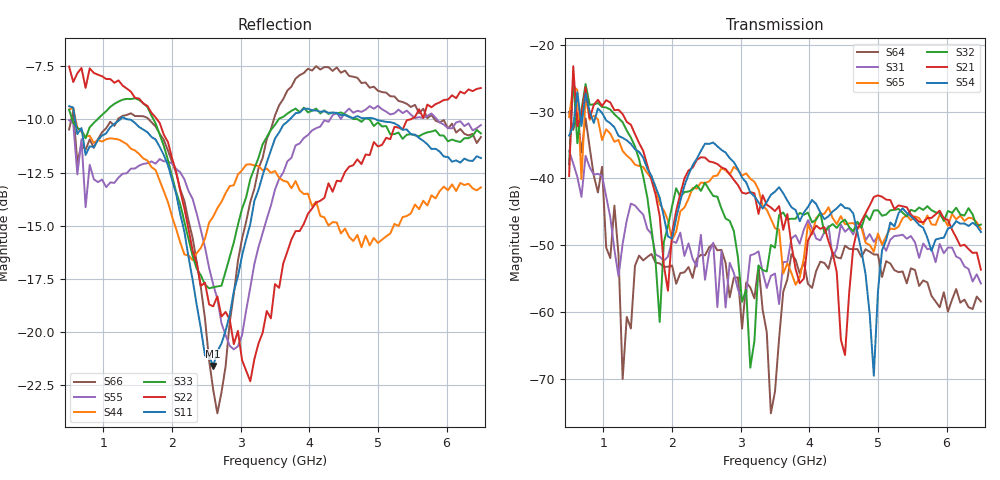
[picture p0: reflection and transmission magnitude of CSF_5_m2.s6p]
!Keysight Technologies,M9804A,MY58100912,A.14.10.03
!Date: Thursday, April 27, 2023 10:28:33
!Correction: S11(C  6-Port  )
!S12(C  6-Port  )
!S13(C  6-Port  )
!S14(C  6-Port  )
!S15(C  6-Port  )
!S16(C  6-Port  )
!S21(C  6-Port  )
!S22(C  6-Port  )
!S23(C  6-Port  )
!S24(C  6-Port  )
!S25(C  6-Port  )
!S26(C  6-Port  )
!S31(C  6-Port  )
!S32(C  6-Port  )
!S33(C  6-Port  )
!S34(C  6-Port  )
!S35(C  6-Port  )
!S36(C  6-Port  )
!S41(C  6-Port  )
!S42(C  6-Port  )
!S43(C  6-Port  )
!S44(C  6-Port  )
!S45(C  6-Port  )
!S46(C  6-Port  )
!S51(C  6-Port  )
!S52(C  6-Port  )
!S53(C  6-Port  )
!S54(C  6-Port  )
!S55(C  6-Port  )
!S56(C  6-Port  )
!S61(C  6-Port  )
!S62(C  6-Port  )
!S63(C  6-Port  )
!S64(C  6-Port  )
!S65(C  6-Port  )
!S66(C  6-Port  )
!S6P File: Measurement: :
# Hz S  RI  R 50
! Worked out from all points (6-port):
!   101 points, 500 MHz to 6.5 GHz, reference 50 ohm
!   strongest paths, dB at 500 MHz, 2 GHz, 3.5 GHz, 5 GHz, 6.5 GHz:
!     S54: -33.6, -49.0, -42.0, -56.9, -48.0
!     S21: -39.6, -48.2, -44.9, -42.5, -53.7
!     S32: -37.9, -44.2, -50.4, -44.8, -46.9
!     S65: -30.8, -49.2, -47.5, -48.2, -47.6
!     S31: -35.9, -49.4, -54.2, -48.6, -55.7
!     S64: -30.1, -53.0, -71.9, -51.4, -58.4
!   lowest |S11| = -21.6 dB at 2.6 GHz (marker M1), VSWR 1.18, Z = 42.6 + j2.06 ohm
!   |S11| at or under -10 dB: 586.8 MHz to 1.244 GHz (656.9 MHz wide, 71.8 % of centre); 1.363 GHz to 3.715 GHz (2.352 GHz wide, 92.6 % of centre); 4.972 GHz to end of sweep
